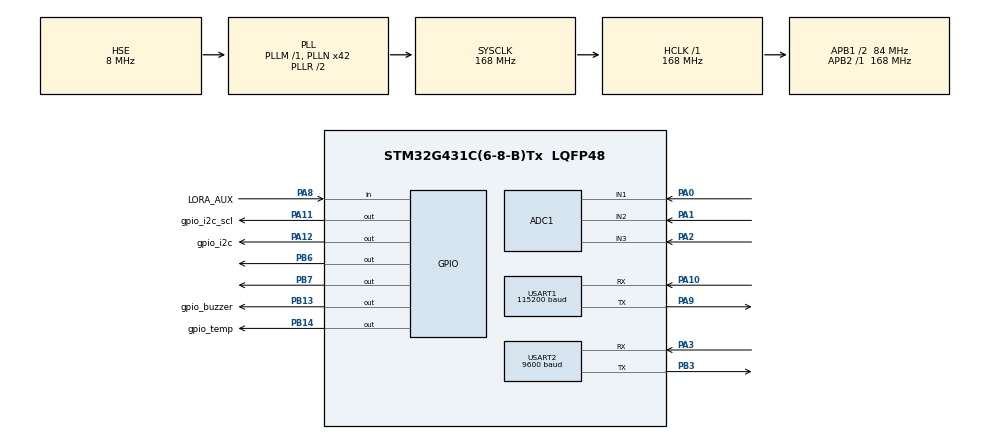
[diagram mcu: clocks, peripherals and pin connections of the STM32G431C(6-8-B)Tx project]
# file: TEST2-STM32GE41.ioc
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ADC1.Channel-2\#ChannelRegularConversion=ADC_CHANNEL_1
ADC1.Channel-3\#ChannelRegularConversion=ADC_CHANNEL_2
ADC1.Channel-4\#ChannelRegularConversion=ADC_CHANNEL_3
ADC1.ContinuousConvMode=ENABLE
ADC1.DMAContinuousRequests=ENABLE
ADC1.EOCSelection=ADC_EOC_SEQ_CONV
ADC1.EnableRegularConversion=ENABLE
ADC1.NbrOfConversion=3
ADC1.NbrOfConversionFlag=1
ADC1.OffsetNumber-2\#ChannelRegularConversion=ADC_OFFSET_NONE
ADC1.OffsetNumber-3\#ChannelRegularConversion=ADC_OFFSET_NONE
ADC1.OffsetNumber-4\#ChannelRegularConversion=ADC_OFFSET_NONE
ADC1.Rank-2\#ChannelRegularConversion=1
ADC1.Rank-3\#ChannelRegularConversion=2
ADC1.Rank-4\#ChannelRegularConversion=3
ADC1.SamplingTime-2\#ChannelRegularConversion=ADC_SAMPLETIME_2CYCLES_5
ADC1.SamplingTime-3\#ChannelRegularConversion=ADC_SAMPLETIME_2CYCLES_5
ADC1.SamplingTime-4\#ChannelRegularConversion=ADC_SAMPLETIME_2CYCLES_5
ADC1.master=1
Dma.ADC1.0.Direction=DMA_PERIPH_TO_MEMORY
Dma.ADC1.0.EventEnable=DISABLE
Dma.ADC1.0.Instance=DMA1_Channel1
Dma.ADC1.0.MemDataAlignment=DMA_MDATAALIGN_HALFWORD
Dma.ADC1.0.MemInc=DMA_MINC_ENABLE
Dma.ADC1.0.Mode=DMA_CIRCULAR
Dma.ADC1.0.PeriphDataAlignment=DMA_PDATAALIGN_HALFWORD
Dma.ADC1.0.PeriphInc=DMA_PINC_DISABLE
Dma.ADC1.0.Polarity=HAL_DMAMUX_REQ_GEN_RISING
Dma.ADC1.0.Priority=DMA_PRIORITY_LOW
Dma.ADC1.0.RequestNumber=1
Dma.ADC1.0.SignalID=NONE
Dma.ADC1.0.SyncEnable=DISABLE
Dma.ADC1.0.SyncPolarity=HAL_DMAMUX_SYNC_NO_EVENT
Dma.ADC1.0.SyncRequestNumber=1
Dma.ADC1.0.SyncSignalID=NONE
Dma.Request0=ADC1
FREERTOS.Tasks01=defaultTask,24,128,StartDefaultTask,Default,NULL,Dynamic,NULL,NULL
FREERTOS.configTOTAL_HEAP_SIZE=4096
Mcu.Family=STM32G4
Mcu.Name=STM32G431C(6-8-B)Tx
Mcu.Package=LQFP48
NVIC.PriorityGroup=NVIC_PRIORITYGROUP_4
NVIC.TIM1_UP_TIM16_IRQn=true\:15\:0\:false\:false\:true\:false\:false\:true\:true
NVIC.TimeBase=TIM1_UP_TIM16_IRQn
NVIC.TimeBaseIP=TIM1
PA0.Mode=IN1-Single-Ended
PA0.Signal=ADC1_IN1
PA1.Mode=IN2-Single-Ended
PA1.Signal=ADC1_IN2
PA10.Mode=Asynchronous
PA10.Signal=USART1_RX
PA11.GPIO_Label=gpio_i2c_scl
PA11.GPIO_ModeDefaultOutputPP=GPIO_MODE_OUTPUT_OD
PA11.GPIO_PuPd=GPIO_NOPULL
PA11.GPIO_Speed=GPIO_SPEED_FREQ_HIGH
PA11.PinState=GPIO_PIN_SET
PA11.Signal=GPIO_Output
PA12.GPIO_Label=gpio_i2c
PA12.GPIO_ModeDefaultOutputPP=GPIO_MODE_OUTPUT_OD
PA12.GPIO_PuPd=GPIO_NOPULL
PA12.GPIO_Speed=GPIO_SPEED_FREQ_HIGH
PA12.PinState=GPIO_PIN_SET
PA12.Signal=GPIO_Output
PA13.Mode=Serial_Wire
PA13.Signal=SYS_JTMS-SWDIO
PA14.Mode=Serial_Wire
PA14.Signal=SYS_JTCK-SWCLK
PA2.Mode=IN3-Single-Ended
PA2.Signal=ADC1_IN3
PA3.Mode=Asynchronous
PA3.Signal=USART2_RX
PA8.GPIO_Label=LORA_AUX
PA8.Signal=GPIO_Input
PA9.Mode=Asynchronous
PA9.Signal=USART1_TX
PB13.GPIO_Label=gpio_buzzer
PB13.Signal=GPIO_Output
PB14.GPIO_Label=gpio_temp
PB14.PinState=GPIO_PIN_SET
PB14.Signal=GPIO_Output
PB3.Mode=Asynchronous
PB3.Signal=USART2_TX
PB6.Signal=GPIO_Output
PB7.Signal=GPIO_Output
PC14-OSC32_IN.Mode=LSE-External-Oscillator
PC14-OSC32_IN.Signal=RCC_OSC32_IN
PC15-OSC32_OUT.Mode=LSE-External-Oscillator
PC15-OSC32_OUT.Signal=RCC_OSC32_OUT
PF0-OSC_IN.Mode=HSE-External-Oscillator
PF0-OSC_IN.Signal=RCC_OSC_IN
PF1-OSC_OUT.Mode=HSE-External-Oscillator
PF1-OSC_OUT.Signal=RCC_OSC_OUT
ProjectManager.HeapSize=0x200
ProjectManager.StackSize=0x400
ProjectManager.TargetToolchain=MDK-ARM V5.32
RCC.ADC12Freq_Value=168000000
RCC.AHBFreq_Value=168000000
RCC.APB1CLKDivider=RCC_HCLK_DIV2
RCC.APB1Freq_Value=84000000
RCC.APB1TimFreq_Value=168000000
RCC.APB2Freq_Value=168000000
RCC.APB2TimFreq_Value=168000000
RCC.CortexFreq_Value=168000000
RCC.EXTERNAL_CLOCK_VALUE=12288000
RCC.HCLKFreq_Value=168000000
RCC.HSE_VALUE=8000000
RCC.HSI48_VALUE=48000000
RCC.HSI_VALUE=16000000
RCC.PLLN=42
RCC.PLLSourceVirtual=RCC_PLLSOURCE_HSE
RCC.SYSCLKFreq_VALUE=168000000
RCC.SYSCLKSource=RCC_SYSCLKSOURCE_PLLCLK
RCC.USART2CLockSelection=RCC_USART2CLKSOURCE_SYSCLK
RCC.USBFreq_Value=168000000
RCC.VCOOutputFreq_Value=336000000
USART1.BaudRate=115200
USART1.VirtualMode-Asynchronous=VM_ASYNC
USART2.BaudRate=9600
USART2.VirtualMode-Asynchronous=VM_ASYNC
VP_FREERTOS_VS_CMSIS_V2.Mode=CMSIS_V2
VP_SYS_VS_DBSignals.Mode=DisableDeadBatterySignals
VP_SYS_VS_tim1.Mode=TIM1
board=custom

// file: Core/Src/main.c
/* USER CODE BEGIN Header */
/**
  ******************************************************************************
  * @file           : main.c
  * @brief          : Main program body
  ******************************************************************************
  * @attention
  *
  * Copyright (c) 2026 STMicroelectronics.
  * All rights reserved.
  *
  * This software is licensed under terms that can be found in the LICENSE file
  * in the root directory of this software component.
  * If no LICENSE file comes with this software, it is provided AS-IS.
  *
  ******************************************************************************
  */
/* USER CODE END Header */
#include "main.h"
#include "cmsis_os.h"
#include "adc.h"
#include "dma.h"
#include "usart.h"
#include "gpio.h"
#include "OLED.h"
#include "sensor.h"
#include <stdio.h>

void SystemClock_Config(void);
void MX_FREERTOS_Init(void);

int main(void)
{

  /* MCU Configuration--------------------------------------------------------*/

  /* Reset of all peripherals, Initializes the Flash interface and the Systick. */
  HAL_Init();

  /* Configure the system clock */
  SystemClock_Config();

  /* Initialize all configured peripherals */
  MX_GPIO_Init();
  MX_DMA_Init();
  MX_ADC1_Init();
  MX_USART1_UART_Init();
  MX_USART2_UART_Init();

  /* Init scheduler */
  osKernelInitialize();  /* Call init function for freertos objects (in cmsis_os2.c) */
MX_FREERTOS_Init();

//sensorData.temp=25;
  /* Start scheduler */
  osKernelStart();

  /* We should never get here as control is now taken by the scheduler */

  /* Infinite loop */
  while (1)
  {

    /* USER CODE BEGIN 3 */
//     temp_read();
//     tds_value();
//     ph_value();
//     TU_Value_Conversion();
//     printf("ADC CH1=%u, CH2=%u, CH3=%u\r\n", adc_value[0], adc_value[1], adc_value[2]);
// OLED_ShowFloatNum(72,0,sensorData.temp,2,1,OLED_8X16);
// OLED_ShowFloatNum(72,16,sensorData.pH_Value,2,1,OLED_8X16);
// OLED_ShowFloatNum(72,32,sensorData.tds_Value,4,1,OLED_8X16);
// OLED_ShowFloatNum(72,48,sensorData.TU_Value,4,1,OLED_8X16);
// OLED_Update();
// HAL_Delay(1000);
  }
  /* USER CODE END 3 */
}

void SystemClock_Config(void)
{
  RCC_OscInitTypeDef RCC_OscInitStruct = {0};
  RCC_ClkInitTypeDef RCC_ClkInitStruct = {0};

  /** Configure the main internal regulator output voltage
  */
  HAL_PWREx_ControlVoltageScaling(PWR_REGULATOR_VOLTAGE_SCALE1_BOOST);

  /** Initializes the RCC Oscillators according to the specified parameters
  * in the RCC_OscInitTypeDef structure.
  */
  RCC_OscInitStruct.OscillatorType = RCC_OSCILLATORTYPE_HSE;
  RCC_OscInitStruct.HSEState = RCC_HSE_ON;
  RCC_OscInitStruct.PLL.PLLState = RCC_PLL_ON;
  RCC_OscInitStruct.PLL.PLLSource = RCC_PLLSOURCE_HSE;
  RCC_OscInitStruct.PLL.PLLM = RCC_PLLM_DIV1;
  RCC_OscInitStruct.PLL.PLLN = 42;
  RCC_OscInitStruct.PLL.PLLP = RCC_PLLP_DIV2;
  RCC_OscInitStruct.PLL.PLLQ = RCC_PLLQ_DIV2;
  RCC_OscInitStruct.PLL.PLLR = RCC_PLLR_DIV2;
  if (HAL_RCC_OscConfig(&RCC_OscInitStruct) != HAL_OK)
  {
    Error_Handler();
  }

  /** Initializes the CPU, AHB and APB buses clocks
  */
  RCC_ClkInitStruct.ClockType = RCC_CLOCKTYPE_HCLK|RCC_CLOCKTYPE_SYSCLK
                              |RCC_CLOCKTYPE_PCLK1|RCC_CLOCKTYPE_PCLK2;
  RCC_ClkInitStruct.SYSCLKSource = RCC_SYSCLKSOURCE_PLLCLK;
  RCC_ClkInitStruct.AHBCLKDivider = RCC_SYSCLK_DIV1;
  RCC_ClkInitStruct.APB1CLKDivider = RCC_HCLK_DIV2;
  RCC_ClkInitStruct.APB2CLKDivider = RCC_HCLK_DIV1;

  if (HAL_RCC_ClockConfig(&RCC_ClkInitStruct, FLASH_LATENCY_4) != HAL_OK)
  {
    Error_Handler();
  }
}

void HAL_TIM_PeriodElapsedCallback(TIM_HandleTypeDef *htim)
{
  if (htim->Instance == TIM1)
  {
    HAL_IncTick();
  }
}

void Error_Handler(void)
{
  __disable_irq();
  while (1)
  {
  }
}

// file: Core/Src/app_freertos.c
/* USER CODE BEGIN Header */
/**
  ******************************************************************************
  * File Name          : app_freertos.c
  * Description        : Code for freertos applications
  ******************************************************************************
  * @attention
  *
  * Copyright (c) 2026 STMicroelectronics.
  * All rights reserved.
  *
  * This software is licensed under terms that can be found in the LICENSE file
  * in the root directory of this software component.
  * If no LICENSE file comes with this software, it is provided AS-IS.
  *
  ******************************************************************************
  */
/* USER CODE END Header */

#include "FreeRTOS.h"
#include "task.h"
#include "main.h"
#include "cmsis_os.h"
#include "task.h"
#include "semphr.h"
#include "queue.h"
/* USER CODE BEGIN Includes */
#include "OLED.h"
#include "sensor.h"
#include "lora.h"
#include <stdio.h>
TaskHandle_t InitTaskHandle;
SemaphoreHandle_t xMutex;
SemaphoreHandle_t xBinarySemaphore1;
SemaphoreHandle_t xBinarySemaphore2;
SemaphoreHandle_t xUart1TxDoneSem;
SemaphoreHandle_t xLoraRxSem; /* LoRa 接收信号量 */
uint8_t init_flag=0;
/* USER CODE END Includes */

/* Definitions for defaultTask */

void init_task(void *argument);
void lora_send_task(void *argument);
void lora_rx_task(void *argument);
void sensor_task(void *argument);
void oled_display_task(void *argument);

void MX_FREERTOS_Init(void); /* (MISRA C 2004 rule 8.1) */

void MX_FREERTOS_Init(void) {
  /* USER CODE BEGIN Init */
  /*
   * 【关键修复】优先创建同步对象 (Mutex/Semaphore)
   * 必须在任务创建前初始化，否则如果任务运行过快可能访问到空指针导致死机
   */
  xMutex = xSemaphoreCreateMutex();

  xBinarySemaphore1 = xSemaphoreCreateBinary();
  xBinarySemaphore2 = xSemaphoreCreateBinary();
  xUart1TxDoneSem   = xSemaphoreCreateBinary();
  xLoraRxSem        = xSemaphoreCreateBinary();

  /* 必须检查 Mutex 是否创建成功 */
  if (xMutex == NULL || xLoraRxSem == NULL) {
      // 致命错误：内存不足，无法继续
      // 可以在这里点亮一个红色LED死循环
      // HAL_GPIO_WritePin(LED_GPIO_Port, LED_Pin, GPIO_PIN_SET);
      // while(1);
  }

  /* 置为初始无信号态 */
  if (xUart1TxDoneSem) { xSemaphoreTake(xUart1TxDoneSem, 0); }

  BaseType_t r;
  /* InitTask */
  r = xTaskCreate( init_task, "TaskName", 256, NULL, 2, &InitTaskHandle );

  BaseType_t rLora, rSensor, rOled, rLoraRx;
  /*
   * 堆空间优化 (Heap = 13KB)：
   * 确保有足够空间创建 Mutex 和 Semaphores
   */
  rLora   = xTaskCreate( lora_send_task,   "lora_send_data_task", 256, NULL, 2, NULL );
  /* 增加 LoraRx 栈到 512，防止 memcpy 或 HAL 操作溢出 */
  rLoraRx = xTaskCreate( lora_rx_task,     "lora_rx_task",        512, NULL, 3, NULL );
  rSensor = xTaskCreate( sensor_task,      "sensor_task",         512, NULL, 2, NULL );
  rOled   = xTaskCreate( oled_display_task,"oled_display_task",    256, NULL, 2, NULL );

  /* USER CODE END Init */

  /* USER CODE BEGIN RTOS_MUTEX */
  // 移至最上方创建
  /* USER CODE END RTOS_MUTEX */

  /* USER CODE BEGIN RTOS_SEMAPHORES */
  // 移至最上方创建
  /* USER CODE END RTOS_SEMAPHORES */
sensorThresholds.pH_threshold = 8.0f; // 默认值
  sensorThresholds.TU_threshold = 100.0f; // 默认值

  /* Create the thread(s) */
  /* creation of defaultTask */

}

void init_task(void *argument)
{
  /* USER CODE BEGIN init_task */
  /* Init peripherals once */
  OLED_Init();
  OLED_ShowString(16,0,"temp:",OLED_8X16);
  OLED_ShowString(16,16,"ph:",OLED_8X16);
  OLED_ShowString(16,32,"tds:",OLED_8X16);
  OLED_ShowString(16,48,"TUR:",OLED_8X16);
  OLED_Update();
  sensor_init();

  /* Infinite loop */
  for(;;)
  {
    init_flag=lora_init();

    /* 删除自身任务：使用 NULL 更安全，避免句柄不一致 */
    if(init_flag==1)
    {
      vTaskDelete(NULL);
    }

    /* Retry delay if init failed - avoid tight loops */
    vTaskDelay(pdMS_TO_TICKS(1000));

  }
  /* USER CODE END StartDefaultTask */
}

/* USER CODE BEGIN Application */
void lora_send_task(void *argument)
{
  /* USER CODE BEGIN lora_send_task */
  /* Infinite loop */
  for(;;)
  {
    /* 每轮等待一次信号量，避免永久停在内部 while */
    if (xSemaphoreTake(xBinarySemaphore1, portMAX_DELAY) == pdTRUE)
    {
      if(init_flag==1)
      {
        lora_send_data();
      }
    }
    vTaskDelay(pdMS_TO_TICKS(10));

  }
}

void lora_rx_task(void *argument)
{
  /* 在任务开始前启动 DMA 接收，确保信号量已创建且 Scheduler 已运行 */
  extern UART_HandleTypeDef huart1;
  extern uint8_t uart1_rx_buf[256];
  HAL_UARTEx_ReceiveToIdle_DMA(&huart1, uart1_rx_buf, 256);

  /* 初始化 sensorThresholds，避免使用未初始化值 */

  for(;;)
  {
    if (xSemaphoreTake(xLoraRxSem, portMAX_DELAY) == pdTRUE)
    {
      lora_recv();

    }
    vTaskDelay(pdMS_TO_TICKS(10));
  }
}

void sensor_task(void *argument)
{
  /* USER CODE BEGIN sensor_task */
  /* Infinite loop */
  for(;;)
  {
    temp_read();
    tds_value();
    ph_value();
    TU_Value_Conversion();
    // printf("ADC CH1=%u, CH2=%u, CH3=%u\r\n", adc_value[0], adc_value[1], adc_value[2]);
    if(sensorData.temp>40||sensorData.pH_Value>sensorThresholds.pH_threshold||sensorData.tds_Value>500||sensorData.TU_Value>sensorThresholds.TU_threshold)
    {
      HAL_GPIO_WritePin(gpio_buzzer_GPIO_Port,gpio_buzzer_Pin,GPIO_PIN_RESET);
    }
    else
    {
      HAL_GPIO_WritePin(gpio_buzzer_GPIO_Port,gpio_buzzer_Pin,GPIO_PIN_SET);
    }
    /* xSemaphoreGive(xBinarySemaphore1); //发送信号量 - 已改为由串口接收中断触发 */
    xSemaphoreGive(xBinarySemaphore2); //发送信号量
    vTaskDelay(pdMS_TO_TICKS(200));
  }
}
void oled_display_task(void *argument)
{
  /* USER CODE BEGIN oled_display_task */
  /* Infinite loop */
  for(;;)
  {
    if (xSemaphoreTake(xBinarySemaphore2, portMAX_DELAY) == pdTRUE)//判断信号量是否得到
    {
OLED_ShowFloatNum(72,0,sensorData.temp,2,1,OLED_8X16);
OLED_ShowFloatNum(72,16,sensorData.pH_Value,2,1,OLED_8X16);
OLED_ShowFloatNum(72,32,sensorData.tds_Value,4,1,OLED_8X16);
OLED_ShowFloatNum(72,48,sensorData.TU_Value,4,1,OLED_8X16);
OLED_Update();
    }
    vTaskDelay(pdMS_TO_TICKS(10));
  }
}
/* USER CODE END Application */
/* Diagnostic hooks for FreeRTOS (stack overflow / malloc failure) */
#if (configCHECK_FOR_STACK_OVERFLOW > 0)
void vApplicationStackOverflowHook(TaskHandle_t xTask, char *pcTaskName)
{
  (void)xTask;
  // printf("[RTOS] Stack overflow: %s\r\n", pcTaskName);
  taskDISABLE_INTERRUPTS();
  for(;;){}
}
#endif

#if (configUSE_MALLOC_FAILED_HOOK == 1)
void vApplicationMallocFailedHook(void)
{
  // printf("[RTOS] Malloc failed! free=%lu min=%lu\r\n",
  //        (unsigned long)xPortGetFreeHeapSize(),
  //        (unsigned long)xPortGetMinimumEverFreeHeapSize());
  taskDISABLE_INTERRUPTS();
  for(;;){}
}
#endif
